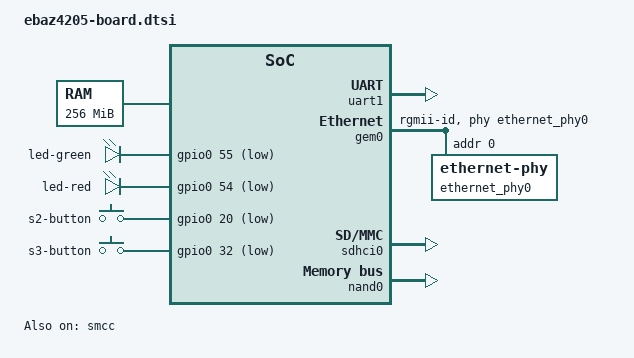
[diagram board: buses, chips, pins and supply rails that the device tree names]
/ {
	chosen {
		bootargs = "console=ttyPS0,115200 earlyprintk root=/dev/mmcblk0p2 rw uio_pdrv_genirq.of_id=generic-uio";
		stdout-path = "serial0:115200n8";
	};

	aliases {
		ethernet0 = &gem0;
		serial0 = &uart1;
		mmc0 = &sdhci0;
	};

	memory@0 {
		device_type = "memory";
		reg = <0x0 0x10000000>;
	};

	leds {
		compatible = "gpio-leds";

		led-green {
			label = "led-green";
			gpios = <&gpio0 55 1>;
			default-state = "off";
			linux,default-trigger = "heartbeat";
		};
		led-red {
			label = "led-red";
			gpios = <&gpio0 54 1>;
			default-state = "off";
		};
	};

	buttons {
		compatible = "gpio-keys-polled";
		poll-interval = <100>;

		s2-button {
			gpios = <&gpio0 20 1>;
			label = "s2-button";
			default-state = "keep";
			linux,code = <106>;
			autorepeat;
		};
		s3-button {
			gpios = <&gpio0 32 1>;
			label = "s3-button";
			default-state = "keep";
			linux,code = <105>;
			autorepeat;
		};
	};
};

&uart1 {
       status = "okay";
};

&gem0 {
	status = "okay";
	phy-mode = "rgmii-id";
	phy-handle = <&ethernet_phy0>;

	ethernet_phy0: ethernet-phy@0 {
		reg = <0>;
	};
};

&sdhci0 {
	status = "okay";
};

&gpio0 {
	gpio-mask-low = <0x5600>;
};

&smcc {
	status = "okay";
};

&nand0 {
	status = "okay";
	nand-ecc-mode = "none";
	nand-bus-width = <8>;
	partitions {
		compatible = "fixed-partitions";
		#address-cells = <1>;
		#size-cells = <1>;

		partition@0 {
			label = "spl";
			reg = <0x0 0x1ffff>;
		};

		partition@20000 {
			label = "uboot1";
			reg = <0x20000 0x11ffff>;
		};

		partition@120000 {
			label = "uboot2";
			reg = <0x120000 0x21ffff>;
		};

		partition@220000 {
			label = "panic";
			reg = <0x220000 0x29ffff>;
		};
                partition@2a0000 {
			label = "ubi";
			reg = <0x2a0000 0xfffffff>;
		};
	};
};
